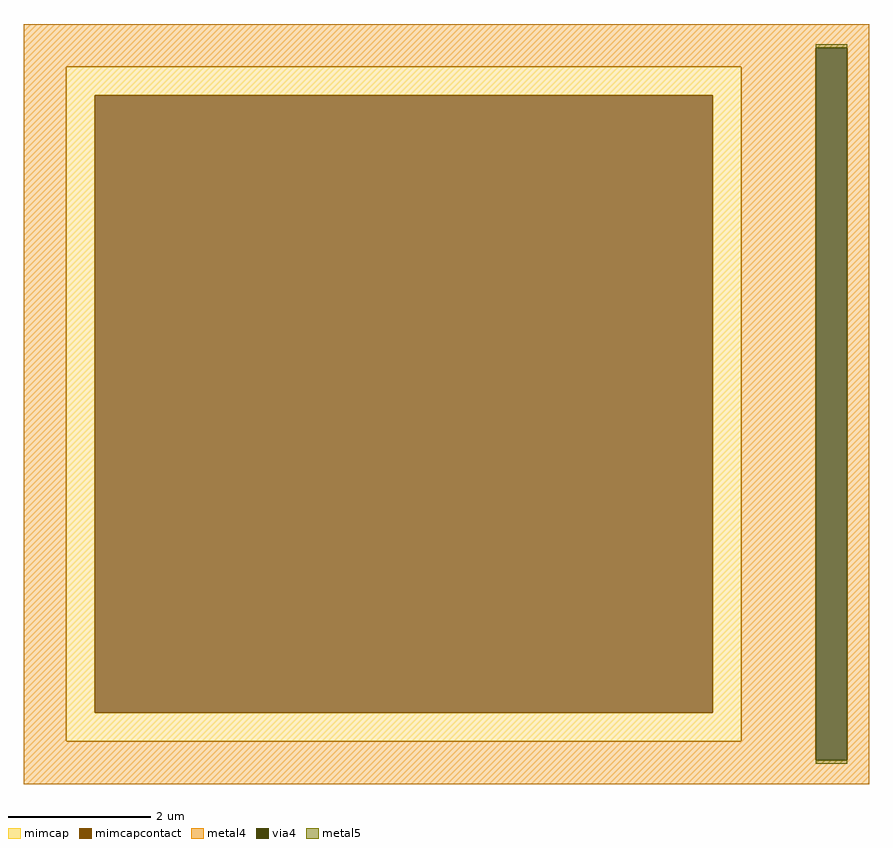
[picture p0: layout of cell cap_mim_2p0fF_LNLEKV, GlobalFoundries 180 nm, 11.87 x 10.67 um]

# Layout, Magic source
magic
tech gf180mcuD
magscale 1 10
<< mimcap >>
rect -1067 867 827 947
rect -1067 -867 -987 867
rect 747 -867 827 867
rect -1067 -947 827 -867
<< mimcapcontact >>
rect -987 -867 747 867
<< metal4 >>
rect -1187 1000 1187 1067
rect -1187 947 1037 1000
rect -1187 -947 -1067 947
rect 827 -947 1037 947
rect -1187 -1000 1037 -947
rect 1125 -1000 1187 1000
rect -1187 -1067 1187 -1000
<< via4 >>
rect 1037 -1000 1125 1000
<< metal5 >>
rect 1037 1000 1125 1010
rect 1037 -1010 1125 -1000
<< properties >>
string FIXED_BBOX -1187 -1067 947 1067
string gencell cap_mim_2p0fF
string library gf180mcu
string parameters w 9.47 l 9.47 val 3.0k carea 25.00 cperi 20.00 class capacitor nx 1 ny 1 dummy 0 square 1 lmin 5.00 wmin 5.00 lmax 100.0 wmax 100.0 dc 0 bconnect 1 tconnect 1
<< end >>
